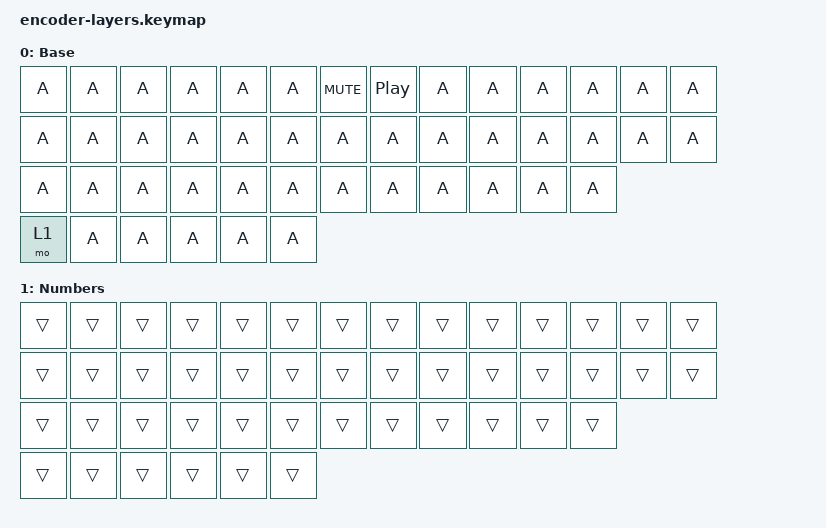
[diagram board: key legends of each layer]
// Synthetic two-layer Corne: media encoder presses, board-default turns.
#include <behaviors.dtsi>
#include <dt-bindings/zmk/keys.h>
/ {
    keymap {
        compatible = "zmk,keymap";
        base {
            display-name = "Base";
            bindings = <
                &kp A &kp A &kp A &kp A &kp A &kp A &kp C_MUTE &kp C_PP &kp A &kp A &kp A &kp A &kp A &kp A
                &kp A &kp A &kp A &kp A &kp A &kp A &kp A &kp A &kp A &kp A &kp A &kp A &kp A &kp A
                &kp A &kp A &kp A &kp A &kp A &kp A &kp A &kp A &kp A &kp A &kp A &kp A
                &mo 1 &kp A &kp A &kp A &kp A &kp A
            >;
        };
        numbers {
            display-name = "Numbers";
            bindings = <
                &trans &trans &trans &trans &trans &trans &trans &trans &trans &trans &trans &trans &trans &trans
                &trans &trans &trans &trans &trans &trans &trans &trans &trans &trans &trans &trans &trans &trans
                &trans &trans &trans &trans &trans &trans &trans &trans &trans &trans &trans &trans
                &trans &trans &trans &trans &trans &trans
            >;
        };
    };
};
